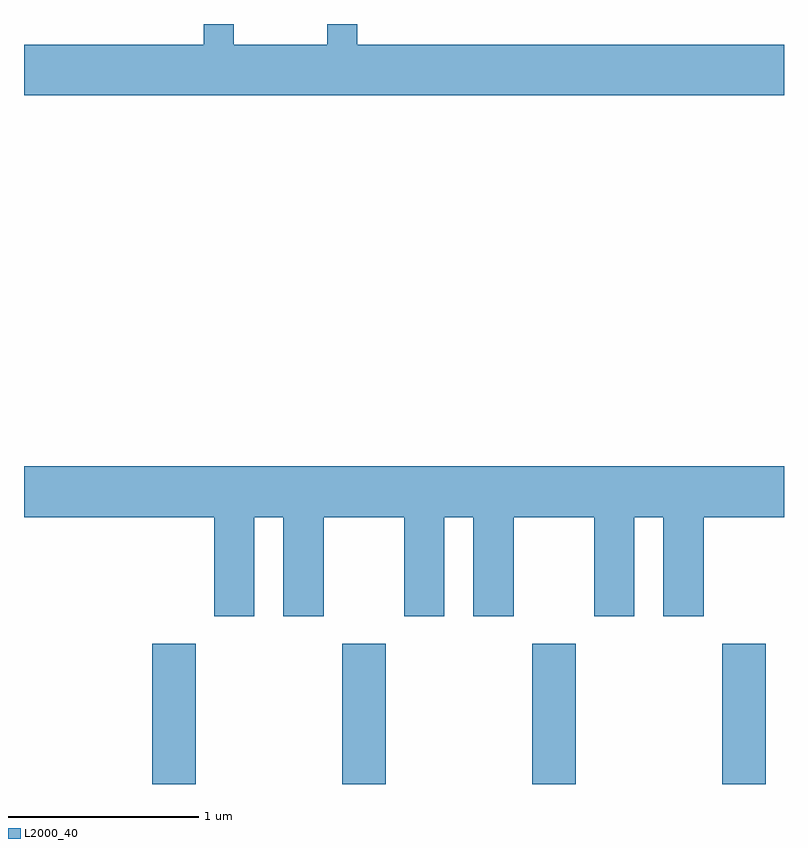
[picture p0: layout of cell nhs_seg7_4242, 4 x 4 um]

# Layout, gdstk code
import gdstk
lib = gdstk.Library(unit=1e-6, precision=1e-09)
def R(c, l, rs):  # rectangles x0, y0, x1, y1
    for r in rs: c.add(gdstk.rectangle(r[:2], r[2:], *l))
def A(c, l, x, y, w, h, nx, ny, dx, dy):  # array of equal rectangles
    R(c, l, [(x+i*dx, y+j*dy, x+i*dx+w, y+j*dy+h) for i in range(nx) for j in range(ny)])
def P(c, l, *ps):  # polygons
    for p in ps: c.add(gdstk.Polygon(p, *l))
L2000_40 = (2000, 40)

nhs_seg7_4242 = lib.new_cell('nhs_seg7_4242')
A(nhs_seg7_4242, L2000_40, 316.286, 1706.252, 0.228, 0.737, 4, 1, 1, 0)
P(nhs_seg7_4242, L2000_40, [(319.611,1710.144),(317.364,1710.144),(317.364,1710.252),(317.206,1710.252),(317.206,1710.144),(316.714,1710.144),(316.714,1710.252),(316.556,1710.252),(316.556,1710.144),(315.611,1710.144),(315.611,1709.876),(319.611,1709.876)],
  [(316.824,1707.656),(316.976,1707.656),(316.976,1707.136),(317.189,1707.136),(317.189,1707.656),(317.611,1707.656),(317.611,1707.136),(317.824,1707.136),(317.824,1707.656),(317.976,1707.656),(317.976,1707.136),(318.189,1707.136),(318.189,1707.656),(318.611,1707.656),(318.611,1707.136),(318.824,1707.136),(318.824,1707.656),(318.976,1707.656),(318.976,1707.136),(319.189,1707.136),(319.189,1707.656),(319.611,1707.656),(319.611,1707.924),(315.611,1707.924),(315.611,1707.656),(316.611,1707.656),(316.611,1707.136),(316.824,1707.136)])

lib.write_gds('nhs_seg7_4242.gds')
